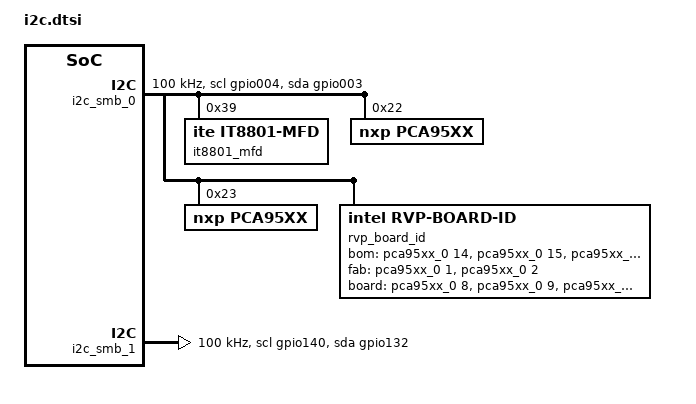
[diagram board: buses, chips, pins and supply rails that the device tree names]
/* Copyright 2025 The ChromiumOS Authors
 * Use of this source code is governed by a BSD-style license that can be
 * found in the LICENSE file.
 */

/ {
	named-i2c-ports {
		compatible = "named-i2c-ports";

		i2c_charger: charger {
			i2c-port = <&charger_i2c>;
			enum-names = "I2C_PORT_CHARGER";
		};
		ec_pd_power: typec-aic1-power {
			i2c-port = <&pd_pow_i2c>;
			enum-names = "I2C_PORT_PD";
		};
	};
};

/* charger */
charger_i2c: &i2c_smb_0 {
	label = "I2C_CHARGER";
	clock-frequency = <I2C_BITRATE_STANDARD>;
	pinctrl-0 = <&i2c00_scl_gpio004 &i2c00_sda_gpio003>;
	pinctrl-names = "default";
	port-sel = <0>;
	status = "okay";

	it8801_mfd: it8801@39 {
		compatible = "ite,it8801-mfd";
		reg = <0x39>;
	};
	pca95xx_0: pca95xx@22 {
		compatible = "nxp,pca95xx";
		label = "PCA95XX";
		reg = <0x22>;
		gpio-controller;
		#gpio-cells = <2>;
		ngpios = <16>;
	};
	pca95xx_1: pca95xx@23 {
		compatible = "nxp,pca95xx";
		label = "PCA95XX";
		reg = <0x23>;
		gpio-controller;
		#gpio-cells = <2>;
		ngpios = <16>;
	};
	rvp_board_id: rvp-board-id {
		compatible = "intel,rvp-board-id";
		bom-gpios = <&pca95xx_0 14 0>, <&pca95xx_0 15 0>,
			    <&pca95xx_0 0 0>;

		fab-gpios = <&pca95xx_0 1 0>, <&pca95xx_0 2 0>;

		board-gpios = <&pca95xx_0 8 0>, <&pca95xx_0 9 0>,
			      <&pca95xx_0 10 0>, <&pca95xx_0 11 0>,
			      <&pca95xx_0 12 0>, <&pca95xx_0 13 0>;
	};
};

/* typec-aic1-power */
pd_pow_i2c: &i2c_smb_1 {
	label = "I2C_PD_POWER";
	clock-frequency = <I2C_BITRATE_STANDARD>;
	pinctrl-0 = <&i2c06_scl_gpio140 &i2c06_sda_gpio132>;
	pinctrl-names = "default";
	port-sel = <6>;
	status = "okay";
};
